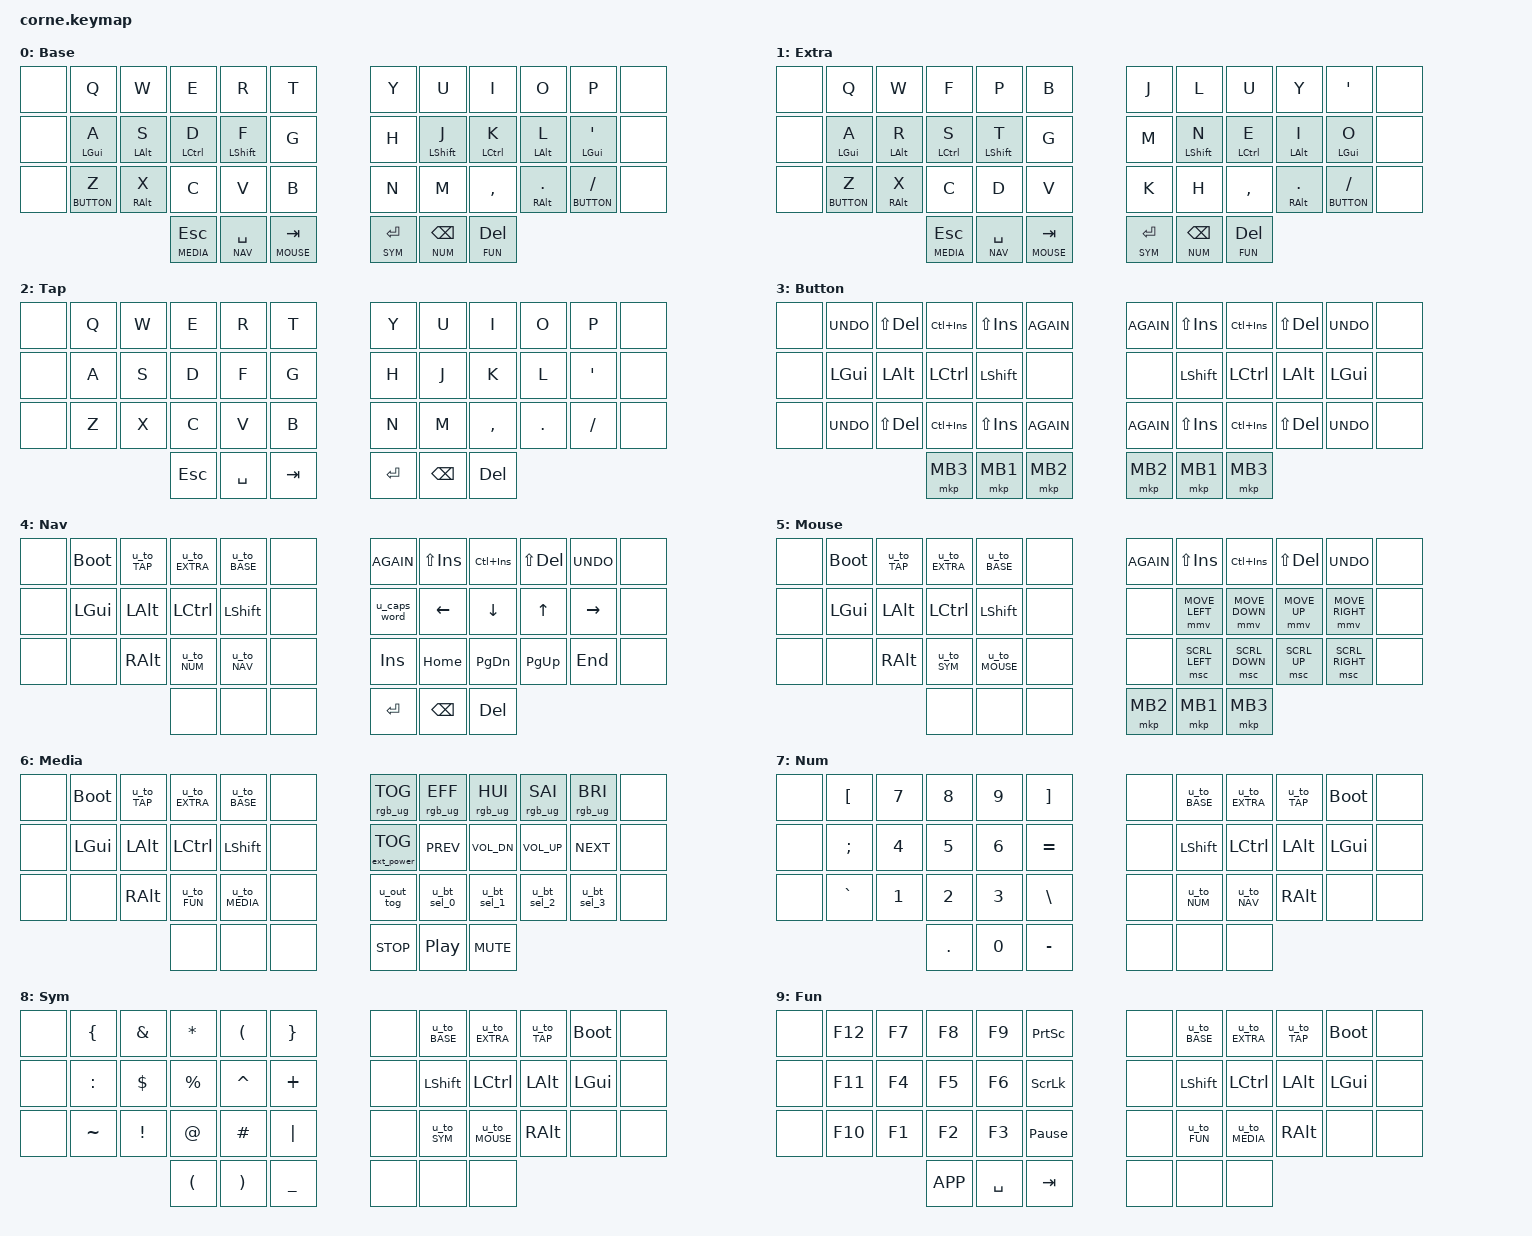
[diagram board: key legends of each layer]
/*
 * Copyright (c) 2020 The ZMK Contributors
 *
 * SPDX-License-Identifier: MIT
 */

#include <behaviors.dtsi>
#include <behaviors/mouse_keys.dtsi>
#include <dt-bindings/zmk/keys.h>
#include <dt-bindings/zmk/bt.h>
#include <dt-bindings/zmk/rgb.h>
#include <dt-bindings/zmk/outputs.h>
#include <dt-bindings/zmk/ext_power.h>
#include <dt-bindings/zmk/pointing.h>

// Layer indices
#define BASE   0
#define EXTRA  1
#define TAP    2
#define BUTTON 3
#define NAV    4
#define MOUSE  5
#define MEDIA  6
#define NUM    7
#define SYM    8
#define FUN    9

/ {
    behaviors {
        u_mt: u_mt {
            compatible = "zmk,behavior-hold-tap";
            #binding-cells = <2>;
            tapping-term-ms = <200>;
            flavor = "tap-preferred";
            bindings = <&kp>, <&kp>;
        };
        u_lt: u_lt {
            compatible = "zmk,behavior-hold-tap";
            #binding-cells = <2>;
            tapping-term-ms = <200>;
            flavor = "tap-preferred";
            bindings = <&mo>, <&kp>;
        };
        u_caps_word: u_caps_word {
            compatible = "zmk,behavior-mod-morph";
            #binding-cells = <0>;
            bindings = <&caps_word>, <&kp CAPS>;
            mods = <(MOD_LSFT|MOD_RSFT)>;
        };
        u_out_tog: u_out_tog {
            compatible = "zmk,behavior-mod-morph";
            #binding-cells = <0>;
            bindings = <&out OUT_TOG>, <&out OUT_USB>;
            mods = <(MOD_LSFT|MOD_RSFT)>;
        };
        u_bt_sel_0: u_bt_sel_0 {
            compatible = "zmk,behavior-mod-morph";
            #binding-cells = <0>;
            bindings = <&bt BT_SEL 0>, <&bt_sel_clr_0>;
            mods = <(MOD_LSFT|MOD_RSFT)>;
        };
        u_bt_sel_1: u_bt_sel_1 {
            compatible = "zmk,behavior-mod-morph";
            #binding-cells = <0>;
            bindings = <&bt BT_SEL 1>, <&bt_sel_clr_1>;
            mods = <(MOD_LSFT|MOD_RSFT)>;
        };
        u_bt_sel_2: u_bt_sel_2 {
            compatible = "zmk,behavior-mod-morph";
            #binding-cells = <0>;
            bindings = <&bt BT_SEL 2>, <&bt_sel_clr_2>;
            mods = <(MOD_LSFT|MOD_RSFT)>;
        };
        u_bt_sel_3: u_bt_sel_3 {
            compatible = "zmk,behavior-mod-morph";
            #binding-cells = <0>;
            bindings = <&bt BT_SEL 3>, <&bt_sel_clr_3>;
            mods = <(MOD_LSFT|MOD_RSFT)>;
        };
        u_bt_sel_4: u_bt_sel_4 {
            compatible = "zmk,behavior-mod-morph";
            #binding-cells = <0>;
            bindings = <&bt BT_SEL 4>, <&bt_sel_clr_4>;
            mods = <(MOD_LSFT|MOD_RSFT)>;
        };
        u_to_BASE: u_to_BASE {
            compatible = "zmk,behavior-tap-dance";
            #binding-cells = <0>;
            tapping-term-ms = <200>;
            bindings = <&none>, <&to BASE>;
        };
        u_to_EXTRA: u_to_EXTRA {
            compatible = "zmk,behavior-tap-dance";
            #binding-cells = <0>;
            tapping-term-ms = <200>;
            bindings = <&none>, <&to EXTRA>;
        };
        u_to_TAP: u_to_TAP {
            compatible = "zmk,behavior-tap-dance";
            #binding-cells = <0>;
            tapping-term-ms = <200>;
            bindings = <&none>, <&to TAP>;
        };
        u_to_BUTTON: u_to_BUTTON {
            compatible = "zmk,behavior-tap-dance";
            #binding-cells = <0>;
            tapping-term-ms = <200>;
            bindings = <&none>, <&to BUTTON>;
        };
        u_to_NAV: u_to_NAV {
            compatible = "zmk,behavior-tap-dance";
            #binding-cells = <0>;
            tapping-term-ms = <200>;
            bindings = <&none>, <&to NAV>;
        };
        u_to_MOUSE: u_to_MOUSE {
            compatible = "zmk,behavior-tap-dance";
            #binding-cells = <0>;
            tapping-term-ms = <200>;
            bindings = <&none>, <&to MOUSE>;
        };
        u_to_MEDIA: u_to_MEDIA {
            compatible = "zmk,behavior-tap-dance";
            #binding-cells = <0>;
            tapping-term-ms = <200>;
            bindings = <&none>, <&to MEDIA>;
        };
        u_to_NUM: u_to_NUM {
            compatible = "zmk,behavior-tap-dance";
            #binding-cells = <0>;
            tapping-term-ms = <200>;
            bindings = <&none>, <&to NUM>;
        };
        u_to_SYM: u_to_SYM {
            compatible = "zmk,behavior-tap-dance";
            #binding-cells = <0>;
            tapping-term-ms = <200>;
            bindings = <&none>, <&to SYM>;
        };
        u_to_FUN: u_to_FUN {
            compatible = "zmk,behavior-tap-dance";
            #binding-cells = <0>;
            tapping-term-ms = <200>;
            bindings = <&none>, <&to FUN>;
        };
    };

    macros {
        bt_sel_clr_0: bt_sel_clr_0 {
            compatible = "zmk,behavior-macro";
            #binding-cells = <0>;
            bindings = <&bt BT_SEL 0>, <&bt BT_CLR>;
        };
        bt_sel_clr_1: bt_sel_clr_1 {
            compatible = "zmk,behavior-macro";
            #binding-cells = <0>;
            bindings = <&bt BT_SEL 1>, <&bt BT_CLR>;
        };
        bt_sel_clr_2: bt_sel_clr_2 {
            compatible = "zmk,behavior-macro";
            #binding-cells = <0>;
            bindings = <&bt BT_SEL 2>, <&bt BT_CLR>;
        };
        bt_sel_clr_3: bt_sel_clr_3 {
            compatible = "zmk,behavior-macro";
            #binding-cells = <0>;
            bindings = <&bt BT_SEL 3>, <&bt BT_CLR>;
        };
        bt_sel_clr_4: bt_sel_clr_4 {
            compatible = "zmk,behavior-macro";
            #binding-cells = <0>;
            bindings = <&bt BT_SEL 4>, <&bt BT_CLR>;
        };
    };

    keymap {
        compatible = "zmk,keymap";

// 42-key Corne mapping: 6 columns per side + 3 thumbs per side.
// Outer pinky columns (col 0 left, col 11 right) are &none — not used by Miryoku.
//
// ╭────┬────┬────┬────┬────┬────╮   ╭────┬────┬────┬────┬────┬────╮
// │ XX │ K00│ K01│ K02│ K03│ K04│   │ K05│ K06│ K07│ K08│ K09│ XX │
// │ XX │ K10│ K11│ K12│ K13│ K14│   │ K15│ K16│ K17│ K18│ K19│ XX │
// │ XX │ K20│ K21│ K22│ K23│ K24│   │ K25│ K26│ K27│ K28│ K29│ XX │
// ╰────┴────┴────┼────┼────┼────┤   ├────┼────┼────┴────┴────┴────╯
//                │ K32│ K33│ K34│   │ K35│ K36│ K37│
//                ╰────┴────┴────╯   ╰────┴────┴────╯

        // ── BASE (QWERTY + home-row mods) ───────────────────────────────────
        BASE {
            display-name = "Base";
            bindings = <
// ╭──────┬──────────────────┬──────────────────┬──────────────────┬──────────────────┬──────────────────╮   ╭──────────────────┬──────────────────┬──────────────────┬──────────────────┬──────────────────┬──────╮
   &none   &kp Q              &kp W              &kp E              &kp R              &kp T                   &kp Y              &kp U              &kp I              &kp O              &kp P              &none
   &none   &u_mt LGUI A       &u_mt LALT S       &u_mt LCTRL D      &u_mt LSHFT F      &kp G                   &kp H              &u_mt LSHFT J      &u_mt LCTRL K      &u_mt LALT L       &u_mt LGUI SQT     &none
   &none   &u_lt BUTTON Z     &u_mt RALT X       &kp C              &kp V              &kp B                   &kp N              &kp M              &kp COMMA          &u_mt RALT DOT     &u_lt BUTTON SLASH &none
// ╰──────┴──────────────────┴──────────────────┼──────────────────┼──────────────────┼──────────────────┤   ├──────────────────┼──────────────────┼──────────────────┴──────────────────┴──────────────────┴──────╯
                                                  &u_lt MEDIA ESC   &u_lt NAV SPACE    &u_lt MOUSE TAB         &u_lt SYM RET      &u_lt NUM BSPC     &u_lt FUN DEL
//                                               ╰──────────────────┴──────────────────┴──────────────────╯   ╰──────────────────┴──────────────────┴──────────────────╯
            >;
        };

        // ── EXTRA (ColemakDH) ────────────────────────────────────────────────
        EXTRA {
            display-name = "Extra";
            bindings = <
   &none   &kp Q              &kp W              &kp F              &kp P              &kp B                   &kp J              &kp L              &kp U              &kp Y              &kp SQT            &none
   &none   &u_mt LGUI A       &u_mt LALT R       &u_mt LCTRL S      &u_mt LSHFT T      &kp G                   &kp M              &u_mt LSHFT N      &u_mt LCTRL E      &u_mt LALT I       &u_mt LGUI O       &none
   &none   &u_lt BUTTON Z     &u_mt RALT X       &kp C              &kp D              &kp V                   &kp K              &kp H              &kp COMMA          &u_mt RALT DOT     &u_lt BUTTON SLASH &none
                                                  &u_lt MEDIA ESC   &u_lt NAV SPACE    &u_lt MOUSE TAB         &u_lt SYM RET      &u_lt NUM BSPC     &u_lt FUN DEL
            >;
        };

        // ── TAP (QWERTY, no hold-tap) ────────────────────────────────────────
        TAP {
            display-name = "Tap";
            bindings = <
   &none  &kp Q   &kp W   &kp E   &kp R     &kp T     &kp Y    &kp U    &kp I     &kp O    &kp P     &none
   &none  &kp A   &kp S   &kp D   &kp F     &kp G     &kp H    &kp J    &kp K     &kp L    &kp SQT   &none
   &none  &kp Z   &kp X   &kp C   &kp V     &kp B     &kp N    &kp M    &kp COMMA &kp DOT  &kp SLASH &none
                           &kp ESC &kp SPACE &kp TAB   &kp RET  &kp BSPC &kp DEL
            >;
        };

        // ── BUTTON ───────────────────────────────────────────────────────────
        BUTTON {
            display-name = "Button";
            bindings = <
   &none  &kp K_UNDO  &kp LS(DEL) &kp LC(INS) &kp LS(INS) &kp K_AGAIN   &kp K_AGAIN &kp LS(INS) &kp LC(INS) &kp LS(DEL) &kp K_UNDO  &none
   &none  &kp LGUI    &kp LALT    &kp LCTRL   &kp LSHFT   &none          &none       &kp LSHFT   &kp LCTRL   &kp LALT    &kp LGUI    &none
   &none  &kp K_UNDO  &kp LS(DEL) &kp LC(INS) &kp LS(INS) &kp K_AGAIN   &kp K_AGAIN &kp LS(INS) &kp LC(INS) &kp LS(DEL) &kp K_UNDO  &none
                                   &mkp MB3    &mkp MB1    &mkp MB2       &mkp MB2    &mkp MB1    &mkp MB3
            >;
        };

        // ── NAV ──────────────────────────────────────────────────────────────
        NAV {
            display-name = "Nav";
            bindings = <
   &none  &bootloader  &u_to_TAP   &u_to_EXTRA  &u_to_BASE  &none          &kp K_AGAIN  &kp LS(INS) &kp LC(INS) &kp LS(DEL) &kp K_UNDO  &none
   &none  &kp LGUI     &kp LALT    &kp LCTRL    &kp LSHFT   &none          &u_caps_word &kp LEFT    &kp DOWN    &kp UP      &kp RIGHT   &none
   &none  &none        &kp RALT    &u_to_NUM    &u_to_NAV   &none          &kp INS      &kp HOME    &kp PG_DN   &kp PG_UP   &kp END     &none
                                    &none        &none        &none          &kp RET      &kp BSPC    &kp DEL
            >;
        };

        // ── MOUSE ────────────────────────────────────────────────────────────
        MOUSE {
            display-name = "Mouse";
            bindings = <
   &none  &bootloader  &u_to_TAP   &u_to_EXTRA  &u_to_BASE  &none          &kp K_AGAIN &kp LS(INS)     &kp LC(INS)     &kp LS(DEL)     &kp K_UNDO      &none
   &none  &kp LGUI     &kp LALT    &kp LCTRL    &kp LSHFT   &none          &none       &mmv MOVE_LEFT  &mmv MOVE_DOWN  &mmv MOVE_UP    &mmv MOVE_RIGHT &none
   &none  &none        &kp RALT    &u_to_SYM    &u_to_MOUSE &none          &none       &msc SCRL_LEFT  &msc SCRL_DOWN  &msc SCRL_UP    &msc SCRL_RIGHT &none
                                    &none        &none        &none          &mkp MB2    &mkp MB1        &mkp MB3
            >;
        };

        // ── MEDIA ────────────────────────────────────────────────────────────
        MEDIA {
            display-name = "Media";
            bindings = <
   &none  &bootloader  &u_to_TAP   &u_to_EXTRA  &u_to_BASE  &none          &rgb_ug RGB_TOG   &rgb_ug RGB_EFF  &rgb_ug RGB_HUI  &rgb_ug RGB_SAI  &rgb_ug RGB_BRI  &none
   &none  &kp LGUI     &kp LALT    &kp LCTRL    &kp LSHFT   &none          &ext_power EP_TOG &kp C_PREV       &kp C_VOL_DN     &kp C_VOL_UP     &kp C_NEXT       &none
   &none  &none        &kp RALT    &u_to_FUN    &u_to_MEDIA &none          &u_out_tog        &u_bt_sel_0      &u_bt_sel_1      &u_bt_sel_2      &u_bt_sel_3      &none
                                    &none        &none        &none          &kp C_STOP        &kp C_PP         &kp C_MUTE
            >;
        };

        // ── NUM ──────────────────────────────────────────────────────────────
        NUM {
            display-name = "Num";
            bindings = <
   &none  &kp LBKT  &kp N7  &kp N8   &kp N9  &kp RBKT      &none  &u_to_BASE   &u_to_EXTRA  &u_to_TAP   &bootloader  &none
   &none  &kp SEMI  &kp N4  &kp N5   &kp N6  &kp EQUAL      &none  &kp LSHFT    &kp LCTRL    &kp LALT    &kp LGUI     &none
   &none  &kp GRAVE &kp N1  &kp N2   &kp N3  &kp BSLH       &none  &u_to_NUM    &u_to_NAV    &kp RALT    &none        &none
                             &kp DOT  &kp N0  &kp MINUS       &none  &none        &none
            >;
        };

        // ── SYM ──────────────────────────────────────────────────────────────
        SYM {
            display-name = "Sym";
            bindings = <
   &none  &kp LBRC   &kp AMPS  &kp ASTRK  &kp LPAR  &kp RBRC      &none  &u_to_BASE   &u_to_EXTRA  &u_to_TAP   &bootloader  &none
   &none  &kp COLON  &kp DLLR  &kp PRCNT  &kp CARET &kp PLUS       &none  &kp LSHFT    &kp LCTRL    &kp LALT    &kp LGUI     &none
   &none  &kp TILDE  &kp EXCL  &kp AT     &kp HASH  &kp PIPE       &none  &u_to_SYM    &u_to_MOUSE  &kp RALT    &none        &none
                                &kp LPAR  &kp RPAR   &kp UNDER       &none  &none        &none
            >;
        };

        // ── FUN ──────────────────────────────────────────────────────────────
        FUN {
            display-name = "Fun";
            bindings = <
   &none  &kp F12  &kp F7  &kp F8    &kp F9  &kp PSCRN         &none  &u_to_BASE   &u_to_EXTRA  &u_to_TAP   &bootloader  &none
   &none  &kp F11  &kp F4  &kp F5    &kp F6  &kp SLCK           &none  &kp LSHFT    &kp LCTRL    &kp LALT    &kp LGUI     &none
   &none  &kp F10  &kp F1  &kp F2    &kp F3  &kp PAUSE_BREAK    &none  &u_to_FUN    &u_to_MEDIA  &kp RALT    &none        &none
                            &kp K_APP &kp SPACE &kp TAB           &none  &none        &none
            >;
        };
    };
};
